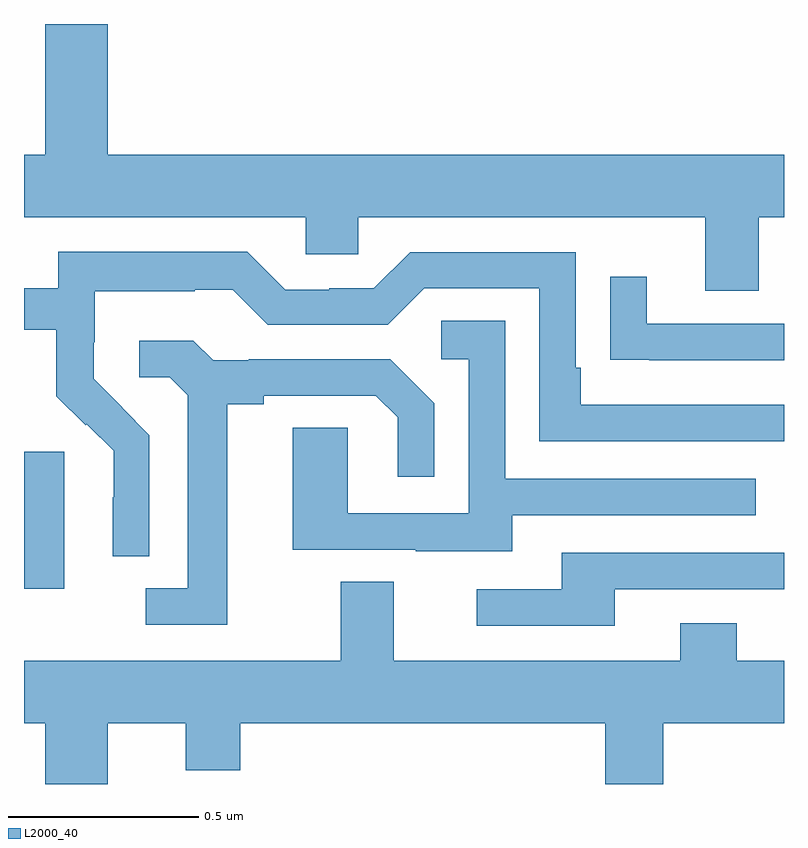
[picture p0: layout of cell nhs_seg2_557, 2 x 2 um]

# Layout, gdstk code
import gdstk
lib = gdstk.Library(unit=1e-6, precision=1e-09)
def R(c, l, rs):  # rectangles x0, y0, x1, y1
    for r in rs: c.add(gdstk.rectangle(r[:2], r[2:], *l))
def P(c, l, *ps):  # polygons
    for p in ps: c.add(gdstk.Polygon(p, *l))
L2000_40 = (2000, 40)

nhs_seg2_557 = lib.new_cell('nhs_seg2_557')
R(nhs_seg2_557, L2000_40, [(117,657.314,117.106,657.675)])
P(nhs_seg2_557, L2000_40, [(118.933,658.292),(119,658.292),(119,658.456),(117.22,658.456),(117.22,658.8),(117.056,658.8),(117.056,658.456),(117,658.456),(117,658.292),(117.741,658.292),(117.741,658.194),(117.879,658.194),(117.879,658.292),(118.793,658.292),(118.793,658.098),(118.933,658.098)],
  [(117.33,657.718),(117.257,657.791),(117.258,657.792),(117.184,657.866),(117.184,657.963),(117.186,657.963),(117.186,658.097),(117.449,658.097),(117.449,658.101),(117.549,658.101),(117.642,658.008),(117.957,658.008),(118.053,658.104),(118.356,658.104),(118.356,657.702),(119,657.702),(119,657.798),(118.465,657.798),(118.465,657.895),(118.452,657.895),(118.452,658.2),(118.017,658.2),(117.921,658.104),(117.803,658.104),(117.803,658.101),(117.687,658.101),(117.587,658.201),(117.09,658.201),(117.09,658.104),(117,658.104),(117,657.996),(117.085,657.996),(117.085,657.821),(117.162,657.744),(117.165,657.747),(117.236,657.677),(117.236,657.554),(117.234,657.554),(117.234,657.4),(117.33,657.4)],
  [(119,658.011),(118.639,658.011),(118.639,658.135),(118.543,658.135),(118.543,657.916),(118.645,657.916),(118.645,657.915),(119,657.915)],
  [(118.285,657.507),(118.925,657.507),(118.925,657.603),(118.266,657.603),(118.266,658.019),(118.098,658.019),(118.098,657.918),(118.17,657.918),(118.17,657.513),(117.852,657.513),(117.852,657.737),(117.707,657.737),(117.707,657.417),(118.031,657.417),(118.031,657.413),(118.285,657.413)],
  [(117.535,657.8),(117.631,657.8),(117.631,657.822),(117.926,657.822),(117.983,657.765),(117.983,657.609),(118.08,657.609),(118.08,657.802),(117.964,657.918),(117.592,657.918),(117.592,657.915),(117.498,657.915),(117.446,657.967),(117.303,657.967),(117.303,657.87),(117.384,657.87),(117.431,657.823),(117.431,657.315),(117.321,657.315),(117.321,657.219),(117.535,657.219)],
  [(118.555,657.312),(119,657.312),(119,657.408),(118.415,657.408),(118.415,657.312),(118.191,657.312),(118.191,657.216),(118.555,657.216)],
  [(117.22,656.96),(117.425,656.96),(117.425,656.836),(117.569,656.836),(117.569,656.96),(118.529,656.96),(118.529,656.8),(118.682,656.8),(118.682,656.96),(119,656.96),(119,657.124),(118.875,657.124),(118.875,657.223),(118.727,657.223),(118.727,657.124),(117.973,657.124),(117.973,657.332),(117.833,657.332),(117.833,657.124),(117,657.124),(117,656.96),(117.056,656.96),(117.056,656.8),(117.22,656.8)])

lib.write_gds('nhs_seg2_557.gds')
